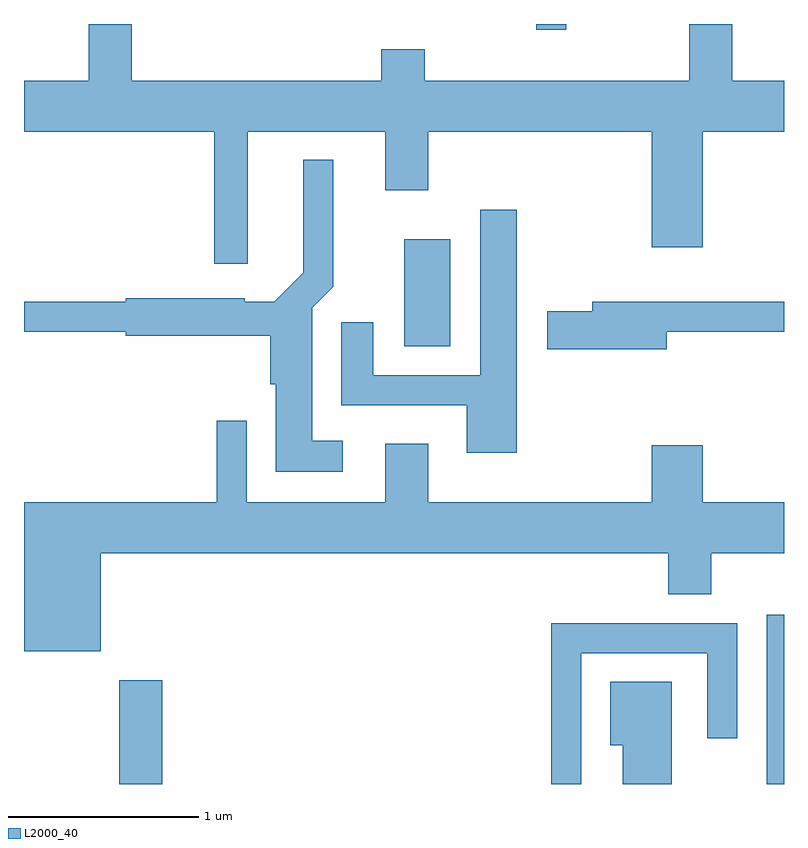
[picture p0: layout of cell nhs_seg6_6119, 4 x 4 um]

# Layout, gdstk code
import gdstk
lib = gdstk.Library(unit=1e-6, precision=1e-09)
def R(c, l, rs):  # rectangles x0, y0, x1, y1
    for r in rs: c.add(gdstk.rectangle(r[:2], r[2:], *l))
def P(c, l, *ps):  # polygons
    for p in ps: c.add(gdstk.Polygon(p, *l))
L2000_40 = (2000, 40)

nhs_seg6_6119 = lib.new_cell('nhs_seg6_6119')
R(nhs_seg6_6119, L2000_40, [(372.111,1542.162,372.339,1542.709), (375.521,1542.162,375.611,1543.054), (373.611,1544.466,373.854,1545.029), (374.306,1546.133,374.464,1546.162)])
P(nhs_seg6_6119, L2000_40, [(373.719,1546.029),(373.491,1546.029),(373.491,1545.864),(372.179,1545.864),(372.179,1546.162),(371.951,1546.162),(371.951,1545.864),(371.611,1545.864),(371.611,1545.596),(372.611,1545.596),(372.611,1544.901),(372.789,1544.901),(372.789,1545.596),(373.511,1545.596),(373.511,1545.286),(373.739,1545.286),(373.739,1545.596),(374.916,1545.596),(374.916,1544.986),(375.184,1544.986),(375.184,1545.596),(375.611,1545.596),(375.611,1545.864),(375.339,1545.864),(375.339,1546.162),(375.111,1546.162),(375.111,1545.864),(373.719,1545.864)],
  [(373.288,1543.969),(373.129,1543.969),(373.129,1544.669),(373.239,1544.779),(373.239,1545.448),(373.081,1545.448),(373.081,1544.852),(372.929,1544.699),(372.774,1544.699),(372.774,1544.719),(372.146,1544.719),(372.146,1544.699),(371.611,1544.699),(371.611,1544.541),(372.146,1544.541),(372.146,1544.521),(372.906,1544.521),(372.906,1544.266),(372.936,1544.266),(372.936,1543.806),(373.288,1543.806)],
  [(374.204,1545.184),(374.011,1545.184),(374.011,1544.314),(373.449,1544.314),(373.449,1544.593),(373.281,1544.593),(373.281,1544.156),(373.941,1544.156),(373.941,1543.906),(374.204,1543.906)],
  [(374.994,1544.541),(375.611,1544.541),(375.611,1544.699),(374.601,1544.699),(374.601,1544.649),(374.366,1544.649),(374.366,1544.451),(374.994,1544.451)],
  [(372.014,1543.376),(375.001,1543.376),(375.001,1543.161),(375.229,1543.161),(375.229,1543.376),(375.611,1543.376),(375.611,1543.644),(375.184,1543.644),(375.184,1543.944),(374.916,1543.944),(374.916,1543.644),(373.739,1543.644),(373.739,1543.954),(373.511,1543.954),(373.511,1543.644),(372.784,1543.644),(372.784,1544.073),(372.626,1544.073),(372.626,1543.644),(371.611,1543.644),(371.611,1542.861),(372.014,1542.861)],
  [(374.544,1542.851),(375.206,1542.851),(375.206,1542.403),(375.364,1542.403),(375.364,1543.009),(374.386,1543.009),(374.386,1542.162),(374.544,1542.162)],
  [(375.019,1542.699),(374.696,1542.699),(374.696,1542.366),(374.761,1542.366),(374.761,1542.162),(375.019,1542.162)])

lib.write_gds('nhs_seg6_6119.gds')
